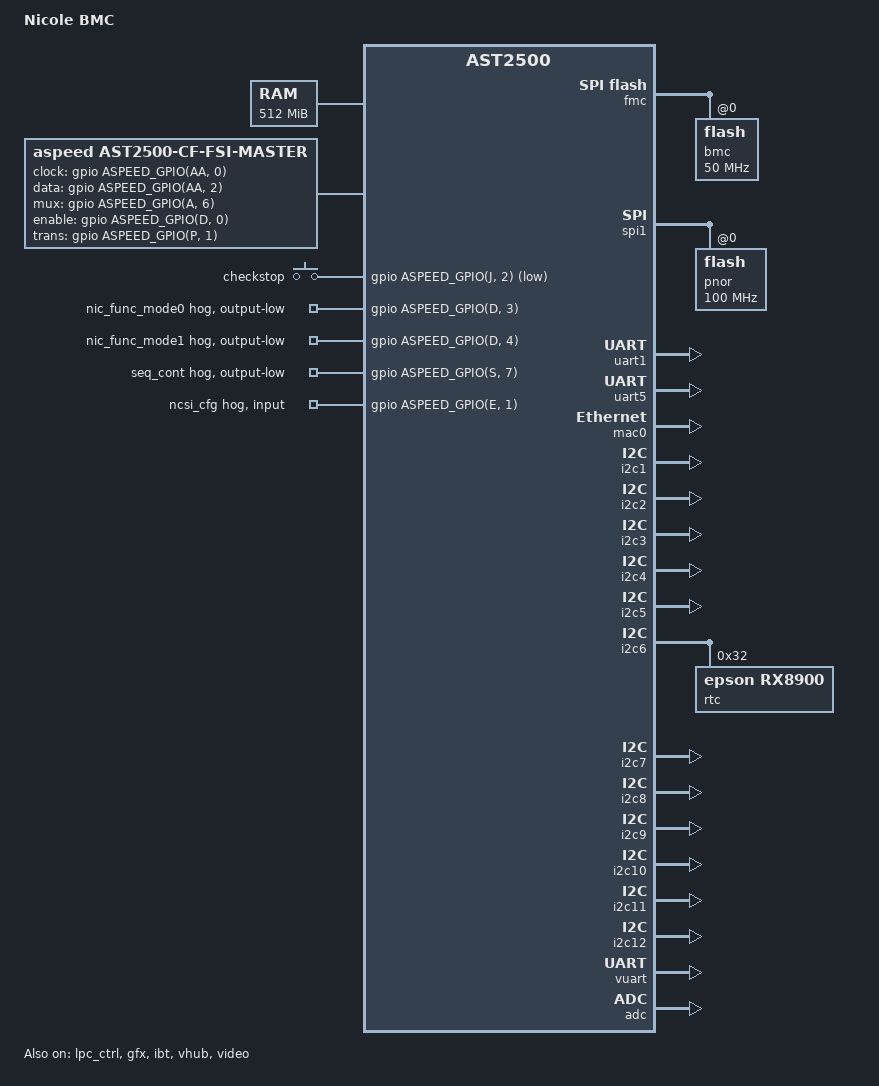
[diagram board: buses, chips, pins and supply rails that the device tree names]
// SPDX-License-Identifier: GPL-2.0+
// Copyright 2019 YADRO
/dts-v1/;
#include "aspeed-g5.dtsi"
#include <dt-bindings/gpio/aspeed-gpio.h>

/ {
	model = "Nicole BMC";
	compatible = "yadro,nicole-bmc", "aspeed,ast2500";

	chosen {
		stdout-path = &uart5;
		bootargs = "console=ttyS4,115200 earlyprintk";
	};

	memory@80000000 {
		reg = <0x80000000 0x20000000>;
	};

	reserved-memory {
		#address-cells = <1>;
		#size-cells = <1>;
		ranges;

		vga_memory: framebuffer@9f000000 {
			no-map;
			reg = <0x9f000000 0x01000000>; /* 16M */
		};

		flash_memory: region@98000000 {
			no-map;
			reg = <0x98000000 0x04000000>; /* 64M */
		};

		coldfire_memory: codefire_memory@9ef00000 {
			reg = <0x9ef00000 0x00100000>;
			no-map;
		};

		gfx_memory: framebuffer {
			size = <0x01000000>;
			alignment = <0x01000000>;
			compatible = "shared-dma-pool";
			reusable;
		};

		video_engine_memory: jpegbuffer {
			size = <0x02000000>;	/* 32M */
			alignment = <0x01000000>;
			compatible = "shared-dma-pool";
			reusable;
		};
	};

	leds {
		compatible = "gpio-leds";
	};

	fsi: gpio-fsi {
		compatible = "aspeed,ast2500-cf-fsi-master", "fsi-master";
		#address-cells = <2>;
		#size-cells = <0>;
		no-gpio-delays;

		memory-region = <&coldfire_memory>;
		aspeed,sram = <&sram>;
		aspeed,cvic = <&cvic>;

		clock-gpios = <&gpio ASPEED_GPIO(AA, 0) GPIO_ACTIVE_HIGH>;
		data-gpios = <&gpio ASPEED_GPIO(AA, 2) GPIO_ACTIVE_HIGH>;
		mux-gpios = <&gpio ASPEED_GPIO(A, 6) GPIO_ACTIVE_HIGH>;
		enable-gpios = <&gpio ASPEED_GPIO(D, 0) GPIO_ACTIVE_HIGH>;
		trans-gpios = <&gpio ASPEED_GPIO(P, 1) GPIO_ACTIVE_HIGH>;
	};

	gpio-keys {
		compatible = "gpio-keys";

		checkstop {
			label = "checkstop";
			gpios = <&gpio ASPEED_GPIO(J, 2) GPIO_ACTIVE_LOW>;
			linux,code = <ASPEED_GPIO(J, 2)>;
		};
	};
};

&fmc {
	status = "okay";
	flash@0 {
		status = "okay";
		m25p,fast-read;
		label = "bmc";
		spi-max-frequency = <50000000>;
#include "openbmc-flash-layout.dtsi"
	};
};

&spi1 {
	status = "okay";
	pinctrl-names = "default";
	pinctrl-0 = <&pinctrl_spi1_default>;

	flash@0 {
		status = "okay";
		m25p,fast-read;
		label = "pnor";
		spi-max-frequency = <100000000>;
	};
};

&lpc_ctrl {
	status = "okay";
	memory-region = <&flash_memory>;
	flash = <&spi1>;
};

&uart1 {
	/* Rear RS-232 connector */
	status = "okay";

	pinctrl-names = "default";
	pinctrl-0 = <&pinctrl_txd1_default
			&pinctrl_rxd1_default
			&pinctrl_nrts1_default
			&pinctrl_ndtr1_default
			&pinctrl_ndsr1_default
			&pinctrl_ncts1_default
			&pinctrl_ndcd1_default
			&pinctrl_nri1_default>;
};

&uart5 {
	status = "okay";
};

&mac0 {
	status = "okay";

	use-ncsi;

	pinctrl-names = "default";
	pinctrl-0 = <&pinctrl_rmii1_default>;
	clocks = <&syscon ASPEED_CLK_GATE_MAC1CLK>,
		 <&syscon ASPEED_CLK_MAC1RCLK>;
	clock-names = "MACCLK", "RCLK";
};

&i2c1 {
	status = "okay";
};

&i2c2 {
	status = "okay";
};

&i2c3 {
	status = "okay";
};

&i2c4 {
	status = "okay";
};

&i2c5 {
	status = "okay";
};

&i2c6 {
	status = "okay";

	rtc@32 {
		compatible = "epson,rx8900";
		reg = <0x32>;
	};
};

&i2c7 {
	status = "okay";
};

&i2c8 {
	status = "okay";
};

&i2c9 {
	status = "okay";
};

&i2c10 {
	status = "okay";
};

&i2c11 {
	status = "okay";
};

&i2c12 {
	status = "okay";
};

&gpio {
	nic_func_mode0 {
		gpio-hog;
		gpios = <ASPEED_GPIO(D, 3) GPIO_ACTIVE_HIGH>;
		output-low;
		line-name = "nic_func_mode0";
	};
	nic_func_mode1 {
		gpio-hog;
		gpios = <ASPEED_GPIO(D, 4) GPIO_ACTIVE_HIGH>;
		output-low;
		line-name = "nic_func_mode1";
	};
	seq_cont {
		gpio-hog;
		gpios = <ASPEED_GPIO(S, 7) GPIO_ACTIVE_HIGH>;
		output-low;
		line-name = "seq_cont";
	};
	ncsi_cfg {
		gpio-hog;
		input;
		gpios = <ASPEED_GPIO(E, 1) GPIO_ACTIVE_HIGH>;
		line-name = "ncsi_cfg";
	};
};

&vuart {
	status = "okay";
};

&gfx {
	status = "okay";
	memory-region = <&gfx_memory>;
};

&pinctrl {
	aspeed,external-nodes = <&gfx &lhc>;
};

&ibt {
	status = "okay";
};

&vhub {
	status = "okay";
};

&adc {
	status = "okay";
};

&video {
	status = "okay";
	memory-region = <&video_engine_memory>;
};

#include "ibm-power9-dual.dtsi"
